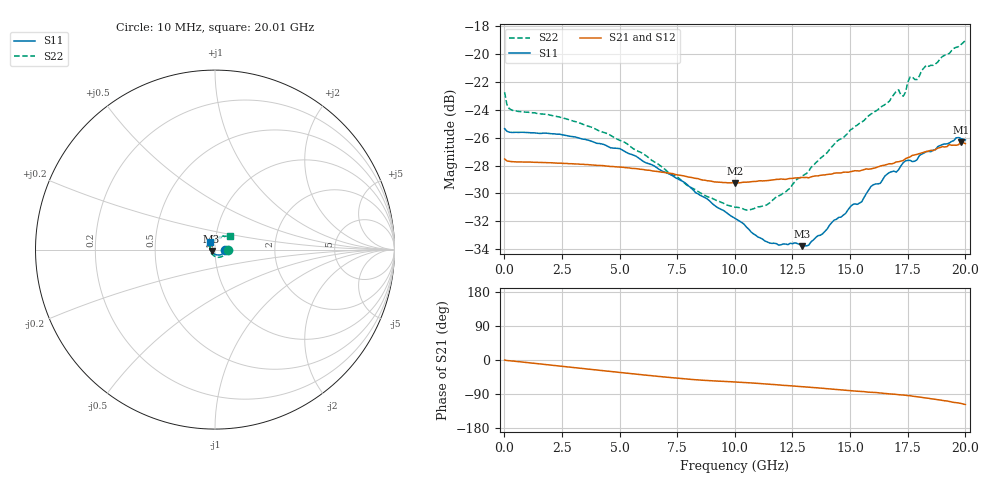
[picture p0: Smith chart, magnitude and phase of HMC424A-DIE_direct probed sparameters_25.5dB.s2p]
!s2p File: Measurements: S11, S21, S12, S22
# GHz S dB R 50.0
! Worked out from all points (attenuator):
!   201 points, 10 MHz to 20.01 GHz, reference 50 ohm
!   highest |S21| = -26.33 dB at 19.81 GHz (marker M1); lowest = -29.2 dB at 10.01 GHz (marker M2)
!   lowest |S11| = -33.8 dB at 12.91 GHz (marker M3), VSWR 1.04, Z = 48.2 - j0.801 ohm
!   |S11| at or under -10 dB: start of sweep to end of sweep
!   |S22| runs from -31.2 to -19.0 dB; largest |S21 - S12| = 0.00043
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0.01  -25.36 -0.2  -27.53 -0.1  -27.53 -0.6  -22.75 -1.8
0.11  -25.55 -1.5  -27.67 -1.3  -27.66 -1.3  -23.64 -5.2
0.31  -25.63 -2.4  -27.72 -2.4  -27.71 -2.4  -24.02 -5.8
3.41  -26.11 -23.9  -27.91 -22.6  -27.91 -22.6  -25.05 -40.8
5.01  -26.79 -37.0  -28.11 -32.9  -28.11 -32.8  -26.20 -60.8
6.71  -28.27 -51.8  -28.44 -43.4  -28.44 -43.4  -27.94 -83.7
8.71  -30.30 -72.5  -29.05 -53.8  -29.06 -53.7  -30.15 -117.6
10.01  -31.78 -91.9  -29.24 -58.1  -29.25 -58.1  -30.98 -150.6
11.31  -33.40 -117.9  -29.09 -63.1  -29.08 -63.0  -30.88 168.1
12.91  -33.77 -156.1  -28.85 -70.4  -28.85 -70.4  -28.77 126.0
13.41  -33.33 -167.9  -28.77 -72.5  -28.78 -72.4  -28.01 116.0
15.11  -30.80 160.8  -28.41 -81.2  -28.42 -81.1  -25.36 89.2
15.51  -30.59 154.4  -28.34 -83.1  -28.32 -82.9  -24.89 83.5
15.91  -29.50 148.7  -28.24 -85.2  -28.24 -85.1  -24.32 79.3
16.71  -28.50 138.5  -27.87 -89.3  -27.85 -89.2  -23.40 72.6
17.11  -28.30 136.7  -27.73 -91.5  -27.65 -91.6  -22.58 65.9
17.31  -27.80 135.1  -27.64 -92.4  -27.61 -92.7  -23.04 65.8
17.61  -27.63 130.4  -27.38 -94.2  -27.41 -94.7  -21.67 64.6
17.91  -27.59 128.9  -27.20 -97.2  -27.25 -97.0  -21.85 60.5
18.31  -27.00 124.1  -27.00 -100.5  -27.04 -100.3  -20.83 56.2
19.81  -26.07 119.3  -26.33 -114.5  -26.33 -114.4  -19.35 43.5
20.01  -26.16 121.0  -26.43 -117.5  -26.40 -117.4  -19.05 41.5
